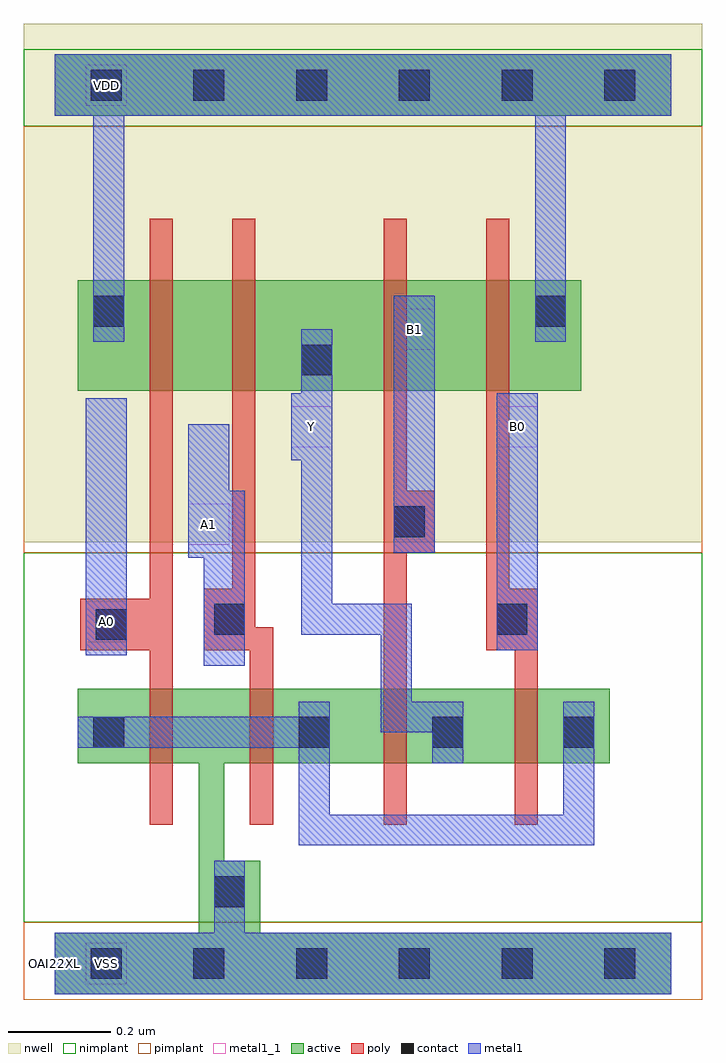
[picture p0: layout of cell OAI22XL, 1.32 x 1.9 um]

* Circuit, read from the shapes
.subckt OAI22XL A0 A1 B0 B1 VDD VSS Y
M1 VSS A0 n1 VSS nfet w=0.145u l=0.045u
M2 n1 A1 VSS VSS nfet w=0.145u l=0.045u
M3 Y B1 n1 VSS nfet w=0.145u l=0.045u
M4 n1 B0 Y VSS nfet w=0.145u l=0.045u
M5 n2 A0 VDD VDD pfet w=0.215u l=0.045u
M6 Y A1 n2 VDD pfet w=0.215u l=0.045u
M7 n3 B1 Y VDD pfet w=0.215u l=0.045u
M8 VDD B0 n3 VDD pfet w=0.215u l=0.045u
.ends

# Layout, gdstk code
import gdstk
lib = gdstk.Library(unit=1e-6, precision=5e-10)
def R(c, l, rs):  # rectangles x0, y0, x1, y1
    for r in rs: c.add(gdstk.rectangle(r[:2], r[2:], *l))
def A(c, l, x, y, w, h, nx, ny, dx, dy):  # array of equal rectangles
    R(c, l, [(x+i*dx, y+j*dy, x+i*dx+w, y+j*dy+h) for i in range(nx) for j in range(ny)])
def P(c, l, *ps):  # polygons
    for p in ps: c.add(gdstk.Polygon(p, *l))
active = (1, 0)
nwell = (2, 0)
poly = (3, 0)
nimplant = (4, 0)
pimplant = (5, 0)
contact = (6, 0)
metal1 = (7, 0)
metal1_1 = (7, 1)

oai22xl = lib.new_cell('OAI22XL')
R(oai22xl, active, [(0.045,1.115,1.025,1.33), (0,1.65,1.2,1.77)])
P(oai22xl, active, [(0.045,0.535),(1.08,0.535),(1.08,0.39),(0.33,0.39),(0.33,0.2),(0.4,0.2),(0.4,0.06),(1.2,0.06),(1.2,-0.06),(0,-0.06),(0,0.06),(0.28,0.06),(0.28,0.39),(0.045,0.39)])
R(oai22xl, nwell, [(-0.06,0.82,1.26,1.83)])
P(oai22xl, poly, [(0.185,1.45),(0.23,1.45),(0.23,0.27),(0.185,0.27),(0.185,0.61),(0.05,0.61),(0.05,0.71),(0.185,0.71)],
  [(0.345,1.45),(0.39,1.45),(0.39,0.655),(0.425,0.655),(0.425,0.27),(0.38,0.27),(0.38,0.61),(0.29,0.61),(0.29,0.73),(0.345,0.73)],
  [(0.64,1.45),(0.685,1.45),(0.685,0.92),(0.74,0.92),(0.74,0.8),(0.685,0.8),(0.685,0.27),(0.64,0.27)],
  [(0.84,1.45),(0.885,1.45),(0.885,0.73),(0.94,0.73),(0.94,0.27),(0.895,0.27),(0.895,0.61),(0.84,0.61)])
R(oai22xl, nimplant, [(-0.06,0.08,1.26,0.8), (-0.06,1.63,1.26,1.78)])
R(oai22xl, pimplant, [(-0.06,-0.07,1.26,0.08), (-0.06,0.8,1.26,1.63)])
A(oai22xl, contact, 0.07, -0.03, 0.06, 0.06, 6, 2, 0.2, 1.71)
R(oai22xl, contact, [(0.31,0.11,0.37,0.17), (0.075,0.42,0.135,0.48), (0.475,0.42,0.535,0.48), (0.735,0.42,0.795,0.48), (0.99,0.42,1.05,0.48), (0.08,0.63,0.14,0.69), (0.31,0.64,0.37,0.7), (0.86,0.64,0.92,0.7), (0.66,0.83,0.72,0.89), (0.48,1.145,0.54,1.205), (0.075,1.24,0.135,1.3), (0.935,1.24,0.995,1.3)])
R(oai22xl, metal1, [(0.06,0.6,0.14,1.1), (0.86,0.61,0.94,1.11), (0.66,0.8,0.74,1.3)])
P(oai22xl, metal1, [(0,1.77),(1.2,1.77),(1.2,1.65),(0.995,1.65),(0.995,1.21),(0.935,1.21),(0.935,1.65),(0.135,1.65),(0.135,1.21),(0.075,1.21),(0.075,1.65),(0,1.65)],
  [(0.48,1.235),(0.54,1.235),(0.54,0.7),(0.695,0.7),(0.695,0.51),(0.795,0.51),(0.795,0.39),(0.735,0.39),(0.735,0.45),(0.635,0.45),(0.635,0.64),(0.48,0.64),(0.48,0.98),(0.46,0.98),(0.46,1.11),(0.48,1.11)],
  [(0.26,1.05),(0.34,1.05),(0.34,0.92),(0.37,0.92),(0.37,0.58),(0.29,0.58),(0.29,0.79),(0.26,0.79)],
  [(0.475,0.51),(0.535,0.51),(0.535,0.29),(0.99,0.29),(0.99,0.51),(1.05,0.51),(1.05,0.23),(0.475,0.23),(0.475,0.42),(0.045,0.42),(0.045,0.48),(0.475,0.48)],
  [(0.31,0.2),(0.37,0.2),(0.37,0.06),(1.2,0.06),(1.2,-0.06),(0,-0.06),(0,0.06),(0.31,0.06)])
R(oai22xl, metal1_1, [(0.06,-0.04,0.14,0.04), (0.06,0.625,0.14,0.705), (0.26,0.815,0.34,0.895), (0.46,1.005,0.54,1.085), (0.86,1.005,0.94,1.085), (0.66,1.195,0.74,1.275), (0.06,1.67,0.14,1.75)])
oai22xl.add(gdstk.Label('Y', (0.5,1.045), layer=7, texttype=1))
oai22xl.add(gdstk.Label('A1', (0.3,0.855), layer=7, texttype=1))
oai22xl.add(gdstk.Label('A0', (0.1,0.665), layer=7, texttype=1))
oai22xl.add(gdstk.Label('B0', (0.9,1.045), layer=7, texttype=1))
oai22xl.add(gdstk.Label('B1', (0.7,1.235), layer=7, texttype=1))
oai22xl.add(gdstk.Label('VDD', (0.1,1.71), layer=7, texttype=1))
oai22xl.add(gdstk.Label('VSS', (0.1,0), layer=7, texttype=1))
oai22xl.add(gdstk.Label('OAI22XL', (0,0), layer=63, texttype=0))

lib.write_gds('OAI22XL.gds')
